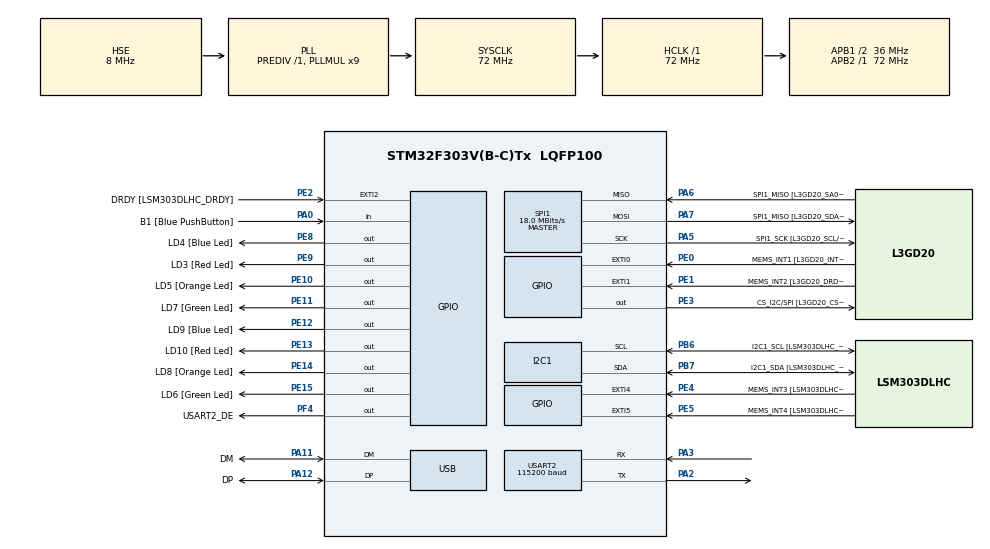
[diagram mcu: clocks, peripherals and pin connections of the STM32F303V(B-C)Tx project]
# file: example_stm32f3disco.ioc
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Dma.Request0=USART2_RX
Dma.Request1=USART2_TX
Dma.USART2_RX.0.Direction=DMA_PERIPH_TO_MEMORY
Dma.USART2_RX.0.Instance=DMA1_Channel6
Dma.USART2_RX.0.MemDataAlignment=DMA_MDATAALIGN_BYTE
Dma.USART2_RX.0.MemInc=DMA_MINC_ENABLE
Dma.USART2_RX.0.Mode=DMA_NORMAL
Dma.USART2_RX.0.PeriphDataAlignment=DMA_PDATAALIGN_BYTE
Dma.USART2_RX.0.PeriphInc=DMA_PINC_DISABLE
Dma.USART2_RX.0.Priority=DMA_PRIORITY_LOW
Dma.USART2_TX.1.Direction=DMA_MEMORY_TO_PERIPH
Dma.USART2_TX.1.Instance=DMA1_Channel7
Dma.USART2_TX.1.MemDataAlignment=DMA_MDATAALIGN_BYTE
Dma.USART2_TX.1.MemInc=DMA_MINC_ENABLE
Dma.USART2_TX.1.Mode=DMA_NORMAL
Dma.USART2_TX.1.PeriphDataAlignment=DMA_PDATAALIGN_BYTE
Dma.USART2_TX.1.PeriphInc=DMA_PINC_DISABLE
Dma.USART2_TX.1.Priority=DMA_PRIORITY_LOW
I2C1.Timing=0x00201D2B
I2C1.Timing-I2C=0x2000090E
Mcu.Family=STM32F3
Mcu.Name=STM32F303V(B-C)Tx
Mcu.Package=LQFP100
Mcu.UserConstants=MODBUS_TIMEOUT,35 / MODBUS_BAUDRATE;MODBUS_BAUDRATE,115200
NVIC.DMA1_Channel6_IRQn=true\:0\:0\:false\:false\:true\:false\:true\:true
NVIC.DMA1_Channel7_IRQn=true\:0\:0\:true\:false\:true\:false\:true\:true
NVIC.PriorityGroup=NVIC_PRIORITYGROUP_0
NVIC.TIM3_IRQn=true\:0\:0\:false\:false\:true\:true\:true\:true
NVIC.USART2_IRQn=true\:0\:0\:false\:false\:true\:true\:true\:true
PA0.GPIO_Label=B1 [Blue PushButton]
PA0.Signal=GPIO_Input
PA11.GPIO_Label=DM
PA11.Mode=Device
PA11.Signal=USB_DM
PA12.GPIO_Label=DP
PA12.Mode=Device
PA12.Signal=USB_DP
PA13.GPIO_Label=SWDIO
PA13.Mode=Serial_Wire
PA13.Signal=SYS_JTMS-SWDIO
PA14.GPIO_Label=SWCLK
PA14.Mode=Serial_Wire
PA14.Signal=SYS_JTCK-SWCLK
PA2.Mode=Asynchronous
PA2.Signal=USART2_TX
PA3.Mode=Asynchronous
PA3.Signal=USART2_RX
PA5.GPIO_Label=SPI1_SCK [L3GD20_SCL/SPC]
PA5.Mode=Full_Duplex_Master
PA5.Signal=SPI1_SCK
PA6.GPIO_Label=SPI1_MISO [L3GD20_SA0/SDO]
PA6.Mode=Full_Duplex_Master
PA6.Signal=SPI1_MISO
PA7.GPIO_Label=SPI1_MISO [L3GD20_SDA/SDI/SDO]
PA7.Mode=Full_Duplex_Master
PA7.Signal=SPI1_MOSI
PB3.GPIO_Label=SWO
PB3.Signal=SYS_JTDO-TRACESWO
PB6.GPIO_Label=I2C1_SCL [LSM303DLHC_SCL]
PB6.GPIO_Pu=GPIO_PULLUP
PB6.Mode=I2C
PB6.Signal=I2C1_SCL
PB7.GPIO_Label=I2C1_SDA [LSM303DLHC_SDA]
PB7.GPIO_Pu=GPIO_PULLUP
PB7.Mode=I2C
PB7.Signal=I2C1_SDA
PC14-OSC32_IN.GPIO_Label=OSC32_IN
PC14-OSC32_IN.Signal=RCC_OSC32_IN
PC15-OSC32_OUT.GPIO_Label=OSC32_OUT
PC15-OSC32_OUT.Signal=RCC_OSC32_OUT
PE0.GPIO_Label=MEMS_INT1 [L3GD20_INT1]
PE0.GPIO_ModeDefaultEXTI=GPIO_MODE_EVT_RISING
PE0.Signal=GPXTI0
PE1.GPIO_Label=MEMS_INT2 [L3GD20_DRDY/INT2]
PE1.GPIO_ModeDefaultEXTI=GPIO_MODE_EVT_RISING
PE1.Signal=GPXTI1
PE10.GPIO_Label=LD5 [Orange Led]
PE10.Signal=GPIO_Output
PE11.GPIO_Label=LD7 [Green Led]
PE11.Signal=GPIO_Output
PE12.GPIO_Label=LD9 [Blue Led]
PE12.Signal=GPIO_Output
PE13.GPIO_Label=LD10 [Red Led]
PE13.Signal=GPIO_Output
PE14.GPIO_Label=LD8 [Orange Led]
PE14.Signal=GPIO_Output
PE15.GPIO_Label=LD6 [Green Led]
PE15.Signal=GPIO_Output
PE2.GPIO_Label=DRDY [LSM303DLHC_DRDY]
PE2.GPIO_ModeDefaultEXTI=GPIO_MODE_EVT_RISING
PE2.Signal=GPXTI2
PE3.GPIO_Label=CS_I2C/SPI [L3GD20_CS_I2C/SPI]
PE3.Signal=GPIO_Output
PE4.GPIO_Label=MEMS_INT3 [LSM303DLHC_INT1]
PE4.GPIO_ModeDefaultEXTI=GPIO_MODE_EVT_RISING
PE4.Signal=GPXTI4
PE5.GPIO_Label=MEMS_INT4 [LSM303DLHC_INT2]
PE5.GPIO_ModeDefaultEXTI=GPIO_MODE_EVT_RISING
PE5.Signal=GPXTI5
PE8.GPIO_Label=LD4 [Blue Led]
PE8.Signal=GPIO_Output
PE9.GPIO_Label=LD3 [Red Led]
PE9.Signal=GPIO_Output
PF0-OSC_IN.GPIO_Label=OSC_IN
PF0-OSC_IN.Mode=HSE-External-Clock-Source
PF0-OSC_IN.Signal=RCC_OSC_IN
PF1-OSC_OUT.GPIO_Label=OSC_OUT
PF1-OSC_OUT.Signal=RCC_OSC_OUT
PF4.GPIO_Label=USART2_DE
PF4.GPIO_Speed=GPIO_SPEED_FREQ_HIGH
PF4.Signal=GPIO_Output
ProjectManager.HeapSize=0x200
ProjectManager.StackSize=0x400
ProjectManager.TargetToolchain=CMake
RCC.AHBFreq_Value=72000000
RCC.APB1CLKDivider=RCC_HCLK_DIV2
RCC.APB1Freq_Value=36000000
RCC.APB1TimFreq_Value=72000000
RCC.APB2Freq_Value=72000000
RCC.APB2TimFreq_Value=72000000
RCC.CortexFreq_Value=72000000
RCC.EnbaleCSS=true
RCC.HCLKFreq_Value=72000000
RCC.HSE_VALUE=8000000
RCC.HSI_VALUE=8000000
RCC.LSE_VALUE=32768
RCC.PLLMUL=RCC_PLL_MUL9
RCC.PRESCALERUSB=RCC_USBCLKSOURCE_PLL_DIV1_5
RCC.SYSCLKFreq_VALUE=72000000
RCC.SYSCLKSourceVirtual=RCC_SYSCLKSOURCE_PLLCLK
RCC.USBFreq_Value=48000000
SPI1.BaudRatePrescaler=SPI_BAUDRATEPRESCALER_4
SPI1.BaudRatePrescaler-Full_Duplex_Master=SPI_BAUDRATEPRESCALER_2
SPI1.CalculateBaudRate=18.0 MBits/s
SPI1.CalculateBaudRate-Full_Duplex_Master=24.0 MBits/s
SPI1.Direction=SPI_DIRECTION_2LINES
SPI1.Mode=SPI_MODE_MASTER
SPI1.Mode-Full_Duplex_Master=SPI_MODE_MASTER
SPI1.VirtualType=VM_MASTER
TIM3.AutoReloadPreload=TIM_AUTORELOAD_PRELOAD_DISABLE
TIM3.Period=307-1
TIM3.Prescaler=72-1
USART2.BaudRate=115200
USART2.VirtualMode-Asynchronous=VM_ASYNC
VP_TIM3_VS_ClockSourceINT.Mode=Internal
board=STM32F3DISCOVERY

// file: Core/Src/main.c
/* USER CODE BEGIN Header */
/**
  ******************************************************************************
  * @file           : main.c
  * @brief          : Main program body
  ******************************************************************************
  * @attention
  *
  * Copyright (c) 2025 STMicroelectronics.
  * All rights reserved.
  *
  * This software is licensed under terms that can be found in the LICENSE file
  * in the root directory of this software component.
  * If no LICENSE file comes with this software, it is provided AS-IS.
  *
  ******************************************************************************
  */
/* USER CODE END Header */
#include "main.h"
#include "dma.h"
#include "i2c.h"
#include "spi.h"
#include "tim.h"
#include "usart.h"
#include "usb.h"
#include "gpio.h"

/* USER CODE BEGIN Includes */
#include "niva_modbus.h"
#include "niva_modbus_stm32.h"
#include "stdio.h"
#include "string.h"
/* USER CODE END Includes */

/* USER CODE BEGIN PD */
#define MODBUS_BUFFER_LEN 256
/* USER CODE END PD */

/* USER CODE BEGIN PV */
#define DISCRETE_INPUTS_COUNT   100
#define COILS_COUNT             100
#define INPUT_REGISTERS_COUNT   100
#define HOLDING_REGISTERS_COUNT 2000
DiscreteInput DISCRETE_INPUTS[DISCRETE_INPUTS_COUNT] = {0};
Coil COILS[COILS_COUNT] = {0};
InputRegister INPUT_REGISTERS[INPUT_REGISTERS_COUNT] = {0};
HoldingRegister HOLDING_REGISTERS[HOLDING_REGISTERS_COUNT] = {0};
/* USER CODE END PV */

void SystemClock_Config(void);
/* USER CODE BEGIN PFP */
#include "niva_modbus_stm32/usart.h"
/* USER CODE END PFP */

int main(void)
{

  /* MCU Configuration--------------------------------------------------------*/

  /* Reset of all peripherals, Initializes the Flash interface and the Systick. */
  HAL_Init();

  /* Configure the system clock */
  SystemClock_Config();

  /* Initialize all configured peripherals */
  MX_GPIO_Init();
  MX_DMA_Init();
  MX_I2C1_Init();
  MX_SPI1_Init();
  MX_USB_PCD_Init();
  MX_TIM3_Init();
  MX_USART2_UART_Init();
  /* USER CODE BEGIN 2 */

  ModbusServer MODBUS_SERVER = {
      .address = 1,
      .discrete_inputs = DISCRETE_INPUTS,
      .discrete_inputs_count = DISCRETE_INPUTS_COUNT,
      .coils = COILS,
      .coils_count = COILS_COUNT,
      .input_registers = INPUT_REGISTERS,
      .input_registers_count = INPUT_REGISTERS_COUNT,
      .holding_registers = HOLDING_REGISTERS,
      .holding_registers_count = HOLDING_REGISTERS_COUNT,
  };

  MODBUS_SERVER.coils[1] = 1;
  MODBUS_SERVER.coils[5] = 1;
  /* USER CODE END 2 */

  /* Infinite loop */
  /* USER CODE BEGIN WHILE */

  while (1)
  {
    modbus_update(&MODBUS_SERVER);
    MODBUS_SERVER.holding_registers[0] += 1;
    /* USER CODE END WHILE */

  }
}

void SystemClock_Config(void)
{
  RCC_OscInitTypeDef RCC_OscInitStruct = {0};
  RCC_ClkInitTypeDef RCC_ClkInitStruct = {0};
  RCC_PeriphCLKInitTypeDef PeriphClkInit = {0};

  /** Initializes the RCC Oscillators according to the specified parameters
  * in the RCC_OscInitTypeDef structure.
  */
  RCC_OscInitStruct.OscillatorType = RCC_OSCILLATORTYPE_HSI|RCC_OSCILLATORTYPE_HSE;
  RCC_OscInitStruct.HSEState = RCC_HSE_BYPASS;
  RCC_OscInitStruct.HSEPredivValue = RCC_HSE_PREDIV_DIV1;
  RCC_OscInitStruct.HSIState = RCC_HSI_ON;
  RCC_OscInitStruct.HSICalibrationValue = RCC_HSICALIBRATION_DEFAULT;
  RCC_OscInitStruct.PLL.PLLState = RCC_PLL_ON;
  RCC_OscInitStruct.PLL.PLLSource = RCC_PLLSOURCE_HSE;
  RCC_OscInitStruct.PLL.PLLMUL = RCC_PLL_MUL9;
  if (HAL_RCC_OscConfig(&RCC_OscInitStruct) != HAL_OK)
  {
    Error_Handler();
  }

  /** Initializes the CPU, AHB and APB buses clocks
  */
  RCC_ClkInitStruct.ClockType = RCC_CLOCKTYPE_HCLK|RCC_CLOCKTYPE_SYSCLK
                              |RCC_CLOCKTYPE_PCLK1|RCC_CLOCKTYPE_PCLK2;
  RCC_ClkInitStruct.SYSCLKSource = RCC_SYSCLKSOURCE_PLLCLK;
  RCC_ClkInitStruct.AHBCLKDivider = RCC_SYSCLK_DIV1;
  RCC_ClkInitStruct.APB1CLKDivider = RCC_HCLK_DIV2;
  RCC_ClkInitStruct.APB2CLKDivider = RCC_HCLK_DIV1;

  if (HAL_RCC_ClockConfig(&RCC_ClkInitStruct, FLASH_LATENCY_2) != HAL_OK)
  {
    Error_Handler();
  }
  PeriphClkInit.PeriphClockSelection = RCC_PERIPHCLK_USB|RCC_PERIPHCLK_USART2
                              |RCC_PERIPHCLK_I2C1;
  PeriphClkInit.Usart2ClockSelection = RCC_USART2CLKSOURCE_PCLK1;
  PeriphClkInit.I2c1ClockSelection = RCC_I2C1CLKSOURCE_HSI;
  PeriphClkInit.USBClockSelection = RCC_USBCLKSOURCE_PLL_DIV1_5;
  if (HAL_RCCEx_PeriphCLKConfig(&PeriphClkInit) != HAL_OK)
  {
    Error_Handler();
  }

  /** Enables the Clock Security System
  */
  HAL_RCC_EnableCSS();
}

void Error_Handler(void)
{
  __disable_irq();
  while (1)
  {
  }
}
